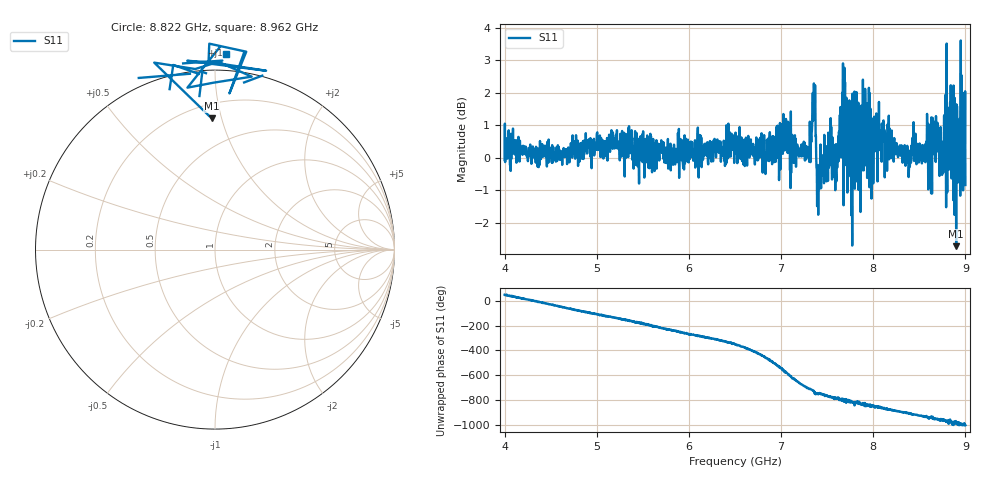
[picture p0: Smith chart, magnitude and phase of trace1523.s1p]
! Created with skrf 1.8.0 (http://scikit-rf.org).
# Hz S RI R 50.0
!freq ReS11 ImS11
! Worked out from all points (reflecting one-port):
!   1601 points, 4 GHz to 9 GHz, reference 50 ohm
!   lowest |S11| = -2.7 dB at 8.9 GHz (marker M1), VSWR 6.43, Z = 14.8 + j46.5 ohm
!   phase of S11 starts at 50 deg and turns -1057 deg over the sweep
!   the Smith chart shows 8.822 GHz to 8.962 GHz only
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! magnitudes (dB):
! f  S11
! 4 GHz  -0.1
! 4.625 GHz  -0.2
! 5.25 GHz  -0.1
! 5.875 GHz  -0.1
! 6.5 GHz  0.2
! 6.819 GHz  0.1
! 7.038 GHz  0.2
! 7.125 GHz  0.1
! 7.294 GHz  0.0
! 7.347 GHz  1.1
! 7.409 GHz  -0.7
! 7.525 GHz  0.1
! 7.584 GHz  0.1
! 7.688 GHz  2.8
! 7.75 GHz  0.6
! 7.769 GHz  -0.1
! 7.834 GHz  0.6
! 7.928 GHz  0.4
! 7.981 GHz  -1.3
! 8.097 GHz  0.7
! 8.375 GHz  0.1
! 8.622 GHz  -0.3
! 8.666 GHz  0.3
! 8.741 GHz  -0.2
! 8.819 GHz  -0.4
! 8.9 GHz  -2.7
! 8.972 GHz  0.7
! 9 GHz  -0.8
